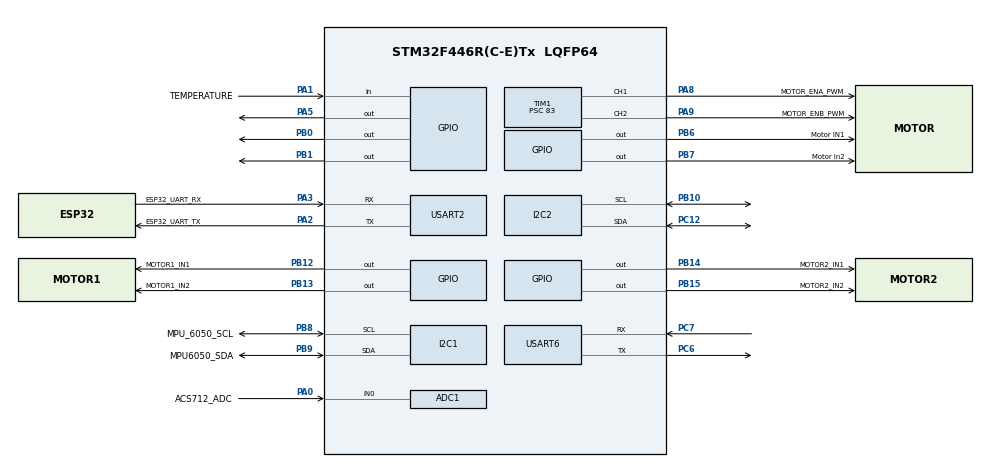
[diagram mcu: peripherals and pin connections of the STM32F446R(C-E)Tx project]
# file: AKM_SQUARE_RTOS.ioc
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ADC1.Channel-0\#ChannelRegularConversion=ADC_CHANNEL_0
ADC1.ContinuousConvMode=ENABLE
ADC1.NbrOfConversionFlag=1
ADC1.Rank-0\#ChannelRegularConversion=1
ADC1.SamplingTime-0\#ChannelRegularConversion=ADC_SAMPLETIME_3CYCLES
ADC1.master=1
FREERTOS.Tasks01=defaultTask,24,128,StartDefaultTask,Default,NULL,Dynamic,NULL,NULL;SensorTask,24,256,SensorTask_Entry,Default,NULL,Dynamic,NULL,NULL;ButtonTask,32,256,ButtonTask_Entry,Default,NULL,Dynamic,NULL,NULL;MotorTask,24,256,MotorTask_Entry,Default,NULL,Dynamic,NULL,NULL;MonitorTask,8,256,MonitorTask_Entry,Default,NULL,Dynamic,NULL,NULL;CommTask,24,256,CommTask_Entry,Default,NULL,Dynamic,NULL,NULL
FREERTOS.configUSE_NEWLIB_REENTRANT=1
Mcu.Family=STM32F4
Mcu.Name=STM32F446R(C-E)Tx
Mcu.Package=LQFP64
NVIC.PriorityGroup=NVIC_PRIORITYGROUP_4
NVIC.TIM6_DAC_IRQn=true\:15\:0\:false\:false\:true\:false\:false\:true\:true
NVIC.TimeBase=TIM6_DAC_IRQn
NVIC.TimeBaseIP=TIM6
PA0-WKUP.GPIO_Label=ACS712_ADC
PA0-WKUP.Signal=ADCx_IN0
PA1.GPIO_Label=TEMPERATURE
PA1.Signal=GPIO_Input
PA2.GPIO_Label=ESP32_UART_TX
PA2.Mode=Asynchronous
PA2.Signal=USART2_TX
PA3.GPIO_Label=ESP32_UART_RX
PA3.Mode=Asynchronous
PA3.Signal=USART2_RX
PA5.Signal=GPIO_Output
PA8.GPIO_Label=MOTOR_ENA_PWM
PA8.Signal=S_TIM1_CH1
PA9.GPIO_Label=MOTOR_ENB_PWM
PA9.Signal=S_TIM1_CH2
PB0.Signal=GPIO_Output
PB1.Signal=GPIO_Output
PB10.Mode=I2C
PB10.Signal=I2C2_SCL
PB12.GPIO_Label=MOTOR1_IN1
PB12.Signal=GPIO_Output
PB13.GPIO_Label=MOTOR1_IN2
PB13.Signal=GPIO_Output
PB14.GPIO_Label=MOTOR2_IN1
PB14.Signal=GPIO_Output
PB15.GPIO_Label=MOTOR2_IN2
PB15.Signal=GPIO_Output
PB6.GPIO_Label=Motor IN1
PB6.Signal=GPIO_Output
PB7.GPIO_Label=Motor In2
PB7.Signal=GPIO_Output
PB8.GPIO_Label=MPU_6050_SCL
PB8.Mode=I2C
PB8.Signal=I2C1_SCL
PB9.GPIO_Label=MPU6050_SDA
PB9.Mode=I2C
PB9.Signal=I2C1_SDA
PC12.Mode=I2C
PC12.Signal=I2C2_SDA
PC6.Mode=Asynchronous
PC6.Signal=USART6_TX
PC7.Mode=Asynchronous
PC7.Signal=USART6_RX
ProjectManager.HeapSize=0x200
ProjectManager.StackSize=0x400
ProjectManager.TargetToolchain=STM32CubeIDE
RCC.CortexFreq_Value=16000000
RCC.USBFreq_Value=96000000
RCC.VCOOutputFreq_Value=192000000
SH.ADCx_IN0.0=ADC1_IN0,IN0
SH.S_TIM1_CH1.0=TIM1_CH1,PWM Generation1 CH1
SH.S_TIM1_CH2.0=TIM1_CH2,PWM Generation2 CH2
TIM1.Channel-PWM\ Generation1\ CH1=TIM_CHANNEL_1
TIM1.Channel-PWM\ Generation2\ CH2=TIM_CHANNEL_2
TIM1.Period=999
TIM1.Prescaler=83
TIM2.Prescaler=15
USART2.VirtualMode=VM_ASYNC
USART6.VirtualMode=VM_ASYNC
VP_FREERTOS_VS_CMSIS_V2.Mode=CMSIS_V2
VP_SYS_VS_tim6.Mode=TIM6
VP_TIM1_VS_ClockSourceINT.Mode=Internal
VP_TIM2_VS_ClockSourceINT.Mode=Internal
board=custom

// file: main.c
/* USER CODE BEGIN Header */
/**
  ******************************************************************************
  * @file           : main.c
  * @brief          : Main program body
  ******************************************************************************
  * @attention
  *
  * Copyright (c) 2026 STMicroelectronics.
  * All rights reserved.
  *
  * This software is licensed under terms that can be found in the LICENSE file
  * in the root directory of this software component.
  * If no LICENSE file comes with this software, it is provided AS-IS.
  *
  ******************************************************************************
  */
/* USER CODE END Header */
#include "main.h"
#include "cmsis_os.h"

/* USER CODE BEGIN Includes */
#include <stdio.h>
#include <string.h>
#include <math.h>
#include <stdint.h>
/* USER CODE END Includes */

/* USER CODE BEGIN PD */

/* ---- ACS712 settings (CHANGE TO MATCH YOUR MODULE) ----
 * 5A  module = 0.185 V/A
 * 20A module = 0.100 V/A
 * 30A module = 0.066 V/A
 *
 * ACS712 output is ~2.5 V at 0 A (powered from 5 V). The STM32 ADC
 * only accepts 0..3.3 V, so use a voltage divider on the output.
 * ACS712_DIVIDER_RATIO = (R1 + R2) / R2
 *   e.g. R1 = 10k (top), R2 = 20k (bottom)  ->  1.5
 *   no divider                              ->  1.0
 */
#define ACS712_SENSITIVITY_V_PER_A   0.185f
#define ACS712_DIVIDER_RATIO         1.0f
#define ADC_VREF                     3.3f
#define ADC_MAX_COUNT                4095.0f

/* Vibration settings */
#define MPU6050_SAMPLES              50U
#define MPU6050_ACCEL_SCALE          16384.0f   /* +/-2 g range: 16384 LSB/g */
#define VIBRATION_HIGH_THRESHOLD_G   0.50f

/* Status thresholds (adjust to your motor / load) */
#define TEMP_HIGH_THRESHOLD_C        40.0f   /* temperature >= this -> HIGH */
#define CURRENT_HIGH_THRESHOLD_A     1.00f   /* current >= this     -> HIGH (also Speed HIGH) */
#define MOTOR_RUN_CURRENT_A          0.15f   /* current >= this     -> motor RUNNING */

/* Speed controller (potentiometer) read by the STM32
 * Pot middle pin -> PA4 (ADC1_IN4), other pins -> 3.3V and GND.
 * Change these 3 lines if your pot is on another ADC pin.
 */
#define POT_ADC_CHANNEL              ADC_CHANNEL_4
#define POT_GPIO_PORT                GPIOA
#define POT_GPIO_PIN                 GPIO_PIN_4
#define POT_DEADBAND                 100U    /* ADC counts below this -> motors stop */
#define MOTOR_MIN_DUTY               450U    /* starting (normal) speed, 0..999 = 0..100% */
#define MOTOR_PWM_PRESCALER          7U      /* 16 MHz / 8 / 1000 = 2 kHz PWM */

/* USER CODE END PD */

ADC_HandleTypeDef hadc1;

I2C_HandleTypeDef hi2c1;
I2C_HandleTypeDef hi2c2;

TIM_HandleTypeDef htim1;
TIM_HandleTypeDef htim2;

UART_HandleTypeDef huart2;
UART_HandleTypeDef huart6;

/* Definitions for defaultTask */
osThreadId_t defaultTaskHandle;
const osThreadAttr_t defaultTask_attributes = {
  .name = "defaultTask",
  .stack_size = 128 * 4,
  .priority = (osPriority_t) osPriorityNormal,
};
/* Definitions for SensorTask */
osThreadId_t SensorTaskHandle;
const osThreadAttr_t SensorTask_attributes = {
  .name = "SensorTask",
  .stack_size = 512 * 4,
  .priority = (osPriority_t) osPriorityNormal,
};
/* Definitions for ButtonTask */
osThreadId_t ButtonTaskHandle;
const osThreadAttr_t ButtonTask_attributes = {
  .name = "ButtonTask",
  .stack_size = 256 * 4,
  .priority = (osPriority_t) osPriorityAboveNormal,
};
/* Definitions for MotorTask */
osThreadId_t MotorTaskHandle;
const osThreadAttr_t MotorTask_attributes = {
  .name = "MotorTask",
  .stack_size = 256 * 4,
  .priority = (osPriority_t) osPriorityNormal,
};
/* Definitions for MonitorTask */
osThreadId_t MonitorTaskHandle;
const osThreadAttr_t MonitorTask_attributes = {
  .name = "MonitorTask",
  .stack_size = 256 * 4,
  .priority = (osPriority_t) osPriorityLow,
};
/* Definitions for CommTask */
osThreadId_t CommTaskHandle;
const osThreadAttr_t CommTask_attributes = {
  .name = "CommTask",
  .stack_size = 256 * 4,
  .priority = (osPriority_t) osPriorityNormal,
};
/* USER CODE BEGIN PV */

/* LM35 temperature sensor: PA1 / ADC1_IN1 */
float temperature_celsius = 0.0f;
uint8_t temperature_sensor_ok = 0;

/* ACS712 current sensor: PA0 / ADC1_IN0 */
uint32_t adc_value = 0;
float sensor_voltage = 0.0f;
uint32_t acs_zero_adc = 0;
float acs_current_A = 0.0f;
uint8_t acs_sensor_ok = 0;

/* MPU6050: I2C1
 * PB8 = SCL
 * PB9 = SDA
 */
#define MPU6050_ADDR          (0x68U << 1)
#define MPU6050_PWR_MGMT_1    0x6B
#define MPU6050_ACCEL_CONFIG  0x1C
#define MPU6050_ACCEL_XOUT_H  0x3B

uint16_t mpu6050_addr = MPU6050_ADDR;   /* updated at startup (0x68 or 0x69) */
uint8_t mpu6050_ok = 0;

/* Mutex so only one task uses ADC1 at a time */
osMutexId_t adcMutexHandle = NULL;
const osMutexAttr_t adcMutex_attributes = { .name = "adcMutex" };

uint8_t mpu6050_data[6];

int16_t mpu6050_raw_x = 0;
int16_t mpu6050_raw_y = 0;
int16_t mpu6050_raw_z = 0;

float vibration_x_g = 0.0f;
float vibration_y_g = 0.0f;
float vibration_z_g = 0.0f;
float vibration_magnitude_g = 0.0f;

/* Vibration monitoring */
float vibration_rms_g = 0.0f;

/* Motor-specific indicators:
 * Valid independent measurements require a sensor
 * mounted near each motor.
 */
float motor1_vibration_g = 0.0f;
float motor2_vibration_g = 0.0f;

uint8_t motor1_high_vibration = 0;
uint8_t motor2_high_vibration = 0;

/* USER CODE END PV */

void SystemClock_Config(void);
static void MX_GPIO_Init(void);
static void MX_TIM2_Init(void);
static void MX_ADC1_Init(void);
static void MX_USART2_UART_Init(void);
static void MX_USART6_UART_Init(void);
static void MX_TIM1_Init(void);
static void MX_I2C1_Init(void);
static void MX_I2C2_Init(void);
void StartDefaultTask(void *argument);
void SensorTask_Entry(void *argument);
void ButtonTask_Entry(void *argument);
void MotorTask_Entry(void *argument);
void MonitorTask_Entry(void *argument);
void CommTask_Entry(void *argument);

/* USER CODE BEGIN PFP */

/* Motor control functions — preserve existing behavior */
void Motor1_SetSpeed(uint16_t speed);
void Motor2_SetSpeed(uint16_t speed);
void Motor_Stop(void);
void Motor_Forward(void);
void Motor_Reverse(void);

/* LM35 temperature sensor */
float LM35_ReadTemperature(void);

/* ACS712 current sensor */
void  ACS712_Calibrate(void);
float ACS712_ReadCurrent(void);

/* MPU6050 sensor functions */
HAL_StatusTypeDef MPU6050_Init(void);
HAL_StatusTypeDef MPU6050_ReadVibration(void);

/* UART output */
void SendSensorDataToESP32(float temperature,
                           float current,
                           float vibration);
void I2C_ScanBus(I2C_HandleTypeDef *hi2c, const char *name);

/* USER CODE END PFP */

int main(void)
{

  /* MCU Configuration--------------------------------------------------------*/

  /* Reset of all peripherals, Initializes the Flash interface and the Systick. */
  HAL_Init();

  /* Configure the system clock */
  SystemClock_Config();

  /* Initialize all configured peripherals */
  MX_GPIO_Init();
  MX_TIM2_Init();
  MX_ADC1_Init();
  MX_USART2_UART_Init();   /* PuTTY / ST-Link virtual COM port */
  MX_USART6_UART_Init();   /* ESP32 */
  MX_TIM1_Init();
  MX_I2C1_Init();
  MX_I2C2_Init();

   /* USER CODE BEGIN 2 */

  /* 0. Speed-controller pot pin as analog input */
  {
      GPIO_InitTypeDef pot_gpio = {0};
      pot_gpio.Pin  = POT_GPIO_PIN;
      pot_gpio.Mode = GPIO_MODE_ANALOG;
      pot_gpio.Pull = GPIO_NOPULL;
      HAL_GPIO_Init(POT_GPIO_PORT, &pot_gpio);
  }

  /* 1. Start TIM2 base timer */
  if (HAL_TIM_Base_Start(&htim2) != HAL_OK)
  {
      Error_Handler();
  }

  __HAL_TIM_SET_COUNTER(&htim2, 0U);

  /* 1b. Raise motor PWM frequency from ~190 Hz to 2 kHz (HSI = 16 MHz) */
  __HAL_TIM_SET_PRESCALER(&htim1, MOTOR_PWM_PRESCALER);
  htim1.Instance->EGR = TIM_EGR_UG;

  /* 2. Start motor PWM outputs */
  if (HAL_TIM_PWM_Start(&htim1, TIM_CHANNEL_1) != HAL_OK)
  {
      Error_Handler();
  }

  if (HAL_TIM_PWM_Start(&htim1, TIM_CHANNEL_2) != HAL_OK)
  {
      Error_Handler();
  }

  /* 3. Keep both motors stopped at startup */
  Motor_Stop();

  /* 4. Test USART2 -> PuTTY */
  const char uart_test[] =
      "\r\n================================\r\n"
      "AKM SQUARE - STM32 STARTED\r\n"
      "USART2 PUTTY TEST OK\r\n"
      "================================\r\n";

  if (HAL_UART_Transmit(
          &huart2,
          (uint8_t *)uart_test,
          (uint16_t)(sizeof(uart_test) - 1U),
          1000U) != HAL_OK)
  {
      Error_Handler();
  }

  /* 5. Check MPU6050 on I2C1 and initialise it */
  const char *mpu_message;

  if (HAL_I2C_IsDeviceReady(
          &hi2c1, (uint16_t)(0x68U << 1), 3U, 100U) == HAL_OK)
  {
      mpu6050_addr = (uint16_t)(0x68U << 1);
      mpu_message = "MPU6050 DETECTED AT 0x68\r\n";
  }
  else if (HAL_I2C_IsDeviceReady(
               &hi2c1, (uint16_t)(0x69U << 1), 3U, 100U) == HAL_OK)
  {
      mpu6050_addr = (uint16_t)(0x69U << 1);
      mpu_message = "MPU6050 DETECTED AT 0x69\r\n";
  }
  else
  {
      mpu_message = "ERROR: MPU6050 NOT DETECTED\r\n";
  }

  if (HAL_UART_Transmit(
          &huart2,
          (uint8_t *)mpu_message,
          (uint16_t)strlen(mpu_message),
          1000U) != HAL_OK)
  {
      Error_Handler();
  }

  if (MPU6050_Init() == HAL_OK)
  {
      mpu6050_ok = 1;
  }

  /* 5b. Diagnostic: list every device found on both I2C buses */
  I2C_ScanBus(&hi2c1, "I2C1");
  I2C_ScanBus(&hi2c2, "I2C2");

  /* 6. Calibrate ACS712 zero-current point (motors are stopped now) */
  ACS712_Calibrate();

  {
      char cal_msg[64];
      int n = snprintf(cal_msg, sizeof(cal_msg),
                       "ACS712 ZERO ADC = %lu\r\n", (unsigned long)acs_zero_adc);
      if (n > 0 && n < (int)sizeof(cal_msg))
      {
          HAL_UART_Transmit(&huart2, (uint8_t *)cal_msg, (uint16_t)n, 1000U);
      }
  }

  /* USER CODE END 2 */

  /* Init scheduler */
  osKernelInitialize();

  /* USER CODE BEGIN RTOS_MUTEX */
  adcMutexHandle = osMutexNew(&adcMutex_attributes);
  /* USER CODE END RTOS_MUTEX */

  /* Create the thread(s) */
  /* creation of defaultTask */
  defaultTaskHandle = osThreadNew(StartDefaultTask, NULL, &defaultTask_attributes);

  /* creation of SensorTask */
  SensorTaskHandle = osThreadNew(SensorTask_Entry, NULL, &SensorTask_attributes);

  /* creation of ButtonTask */
  ButtonTaskHandle = osThreadNew(ButtonTask_Entry, NULL, &ButtonTask_attributes);

  /* creation of MotorTask */
  MotorTaskHandle = osThreadNew(MotorTask_Entry, NULL, &MotorTask_attributes);

  /* creation of MonitorTask */
  MonitorTaskHandle = osThreadNew(MonitorTask_Entry, NULL, &MonitorTask_attributes);

  /* creation of CommTask */
  CommTaskHandle = osThreadNew(CommTask_Entry, NULL, &CommTask_attributes);

  /* Start scheduler */
  osKernelStart();

  /* We should never get here as control is now taken by the scheduler */

  /* Infinite loop */
  while (1)
  {

  }
}

void SystemClock_Config(void)
{
  RCC_OscInitTypeDef RCC_OscInitStruct = {0};
  RCC_ClkInitTypeDef RCC_ClkInitStruct = {0};

  /** Configure the main internal regulator output voltage
  */
  __HAL_RCC_PWR_CLK_ENABLE();
  __HAL_PWR_VOLTAGESCALING_CONFIG(PWR_REGULATOR_VOLTAGE_SCALE3);

  /** Initializes the RCC Oscillators according to the specified parameters
  * in the RCC_OscInitTypeDef structure.
  */
  RCC_OscInitStruct.OscillatorType = RCC_OSCILLATORTYPE_HSI;
  RCC_OscInitStruct.HSIState = RCC_HSI_ON;
  RCC_OscInitStruct.HSICalibrationValue = RCC_HSICALIBRATION_DEFAULT;
  RCC_OscInitStruct.PLL.PLLState = RCC_PLL_NONE;
  if (HAL_RCC_OscConfig(&RCC_OscInitStruct) != HAL_OK)
  {
    Error_Handler();
  }

  /** Initializes the CPU, AHB and APB buses clocks
  */
  RCC_ClkInitStruct.ClockType = RCC_CLOCKTYPE_HCLK|RCC_CLOCKTYPE_SYSCLK
                              |RCC_CLOCKTYPE_PCLK1|RCC_CLOCKTYPE_PCLK2;
  RCC_ClkInitStruct.SYSCLKSource = RCC_SYSCLKSOURCE_HSI;
  RCC_ClkInitStruct.AHBCLKDivider = RCC_SYSCLK_DIV1;
  RCC_ClkInitStruct.APB1CLKDivider = RCC_HCLK_DIV1;
  RCC_ClkInitStruct.APB2CLKDivider = RCC_HCLK_DIV1;

  if (HAL_RCC_ClockConfig(&RCC_ClkInitStruct, FLASH_LATENCY_0) != HAL_OK)
  {
    Error_Handler();
  }
}

static void MX_ADC1_Init(void)
{

  ADC_ChannelConfTypeDef sConfig = {0};

  /** Configure the global features of the ADC (Clock, Resolution, Data Alignment and number of conversion)
  */
  hadc1.Instance = ADC1;
  hadc1.Init.ClockPrescaler = ADC_CLOCK_SYNC_PCLK_DIV2;
  hadc1.Init.Resolution = ADC_RESOLUTION_12B;
  hadc1.Init.ScanConvMode = DISABLE;
  hadc1.Init.ContinuousConvMode = DISABLE;   /* single conversions (software started) */
  hadc1.Init.DiscontinuousConvMode = DISABLE;
  hadc1.Init.ExternalTrigConvEdge = ADC_EXTERNALTRIGCONVEDGE_NONE;
  hadc1.Init.ExternalTrigConv = ADC_SOFTWARE_START;
  hadc1.Init.DataAlign = ADC_DATAALIGN_RIGHT;
  hadc1.Init.NbrOfConversion = 1;
  hadc1.Init.DMAContinuousRequests = DISABLE;
  hadc1.Init.EOCSelection = ADC_EOC_SINGLE_CONV;
  if (HAL_ADC_Init(&hadc1) != HAL_OK)
  {
    Error_Handler();
  }

  /** Configure for the selected ADC regular channel its corresponding rank in the sequencer and its sample time.
  */
  sConfig.Channel = ADC_CHANNEL_0;
  sConfig.Rank = 1;
  sConfig.SamplingTime = ADC_SAMPLETIME_3CYCLES;
  if (HAL_ADC_ConfigChannel(&hadc1, &sConfig) != HAL_OK)
  {
    Error_Handler();
  }
  /* USER CODE BEGIN ADC1_Init 2 */

    /* Additional ADC configuration can go here. */

  /* USER CODE END ADC1_Init 2 */

}

static void MX_I2C1_Init(void)
{

  hi2c1.Instance = I2C1;
  hi2c1.Init.ClockSpeed = 100000;
  hi2c1.Init.DutyCycle = I2C_DUTYCYCLE_2;
  hi2c1.Init.OwnAddress1 = 0;
  hi2c1.Init.AddressingMode = I2C_ADDRESSINGMODE_7BIT;
  hi2c1.Init.DualAddressMode = I2C_DUALADDRESS_DISABLE;
  hi2c1.Init.OwnAddress2 = 0;
  hi2c1.Init.GeneralCallMode = I2C_GENERALCALL_DISABLE;
  hi2c1.Init.NoStretchMode = I2C_NOSTRETCH_DISABLE;
  if (HAL_I2C_Init(&hi2c1) != HAL_OK)
  {
    Error_Handler();
  }

}

static void MX_I2C2_Init(void)
{

  hi2c2.Instance = I2C2;
  hi2c2.Init.ClockSpeed = 100000;
  hi2c2.Init.DutyCycle = I2C_DUTYCYCLE_2;
  hi2c2.Init.OwnAddress1 = 0;
  hi2c2.Init.AddressingMode = I2C_ADDRESSINGMODE_7BIT;
  hi2c2.Init.DualAddressMode = I2C_DUALADDRESS_DISABLE;
  hi2c2.Init.OwnAddress2 = 0;
  hi2c2.Init.GeneralCallMode = I2C_GENERALCALL_DISABLE;
  hi2c2.Init.NoStretchMode = I2C_NOSTRETCH_DISABLE;
  if (HAL_I2C_Init(&hi2c2) != HAL_OK)
  {
    Error_Handler();
  }

}

static void MX_TIM1_Init(void)
{

  TIM_ClockConfigTypeDef sClockSourceConfig = {0};
  TIM_MasterConfigTypeDef sMasterConfig = {0};
  TIM_OC_InitTypeDef sConfigOC = {0};
  TIM_BreakDeadTimeConfigTypeDef sBreakDeadTimeConfig = {0};

  htim1.Instance = TIM1;
  htim1.Init.Prescaler = 83;
  htim1.Init.CounterMode = TIM_COUNTERMODE_UP;
  htim1.Init.Period = 999;
  htim1.Init.ClockDivision = TIM_CLOCKDIVISION_DIV1;
  htim1.Init.RepetitionCounter = 0;
  htim1.Init.AutoReloadPreload = TIM_AUTORELOAD_PRELOAD_DISABLE;
  if (HAL_TIM_Base_Init(&htim1) != HAL_OK)
  {
    Error_Handler();
  }
  sClockSourceConfig.ClockSource = TIM_CLOCKSOURCE_INTERNAL;
  if (HAL_TIM_ConfigClockSource(&htim1, &sClockSourceConfig) != HAL_OK)
  {
    Error_Handler();
  }
  if (HAL_TIM_PWM_Init(&htim1) != HAL_OK)
  {
    Error_Handler();
  }
  sMasterConfig.MasterOutputTrigger = TIM_TRGO_RESET;
  sMasterConfig.MasterSlaveMode = TIM_MASTERSLAVEMODE_DISABLE;
  if (HAL_TIMEx_MasterConfigSynchronization(&htim1, &sMasterConfig) != HAL_OK)
  {
    Error_Handler();
  }
  sConfigOC.OCMode = TIM_OCMODE_PWM1;
  sConfigOC.Pulse = 0;
  sConfigOC.OCPolarity = TIM_OCPOLARITY_HIGH;
  sConfigOC.OCNPolarity = TIM_OCNPOLARITY_HIGH;
  sConfigOC.OCFastMode = TIM_OCFAST_DISABLE;
  sConfigOC.OCIdleState = TIM_OCIDLESTATE_RESET;
  sConfigOC.OCNIdleState = TIM_OCNIDLESTATE_RESET;
  if (HAL_TIM_PWM_ConfigChannel(&htim1, &sConfigOC, TIM_CHANNEL_1) != HAL_OK)
  {
    Error_Handler();
  }
  if (HAL_TIM_PWM_ConfigChannel(&htim1, &sConfigOC, TIM_CHANNEL_2) != HAL_OK)
  {
    Error_Handler();
  }
  sBreakDeadTimeConfig.OffStateRunMode = TIM_OSSR_DISABLE;
  sBreakDeadTimeConfig.OffStateIDLEMode = TIM_OSSI_DISABLE;
  sBreakDeadTimeConfig.LockLevel = TIM_LOCKLEVEL_OFF;
  sBreakDeadTimeConfig.DeadTime = 0;
  sBreakDeadTimeConfig.BreakState = TIM_BREAK_DISABLE;
  sBreakDeadTimeConfig.BreakPolarity = TIM_BREAKPOLARITY_HIGH;
  sBreakDeadTimeConfig.AutomaticOutput = TIM_AUTOMATICOUTPUT_DISABLE;
  if (HAL_TIMEx_ConfigBreakDeadTime(&htim1, &sBreakDeadTimeConfig) != HAL_OK)
  {
    Error_Handler();
  }
  HAL_TIM_MspPostInit(&htim1);

}

static void MX_TIM2_Init(void)
{

  TIM_ClockConfigTypeDef sClockSourceConfig = {0};
  TIM_MasterConfigTypeDef sMasterConfig = {0};

  htim2.Instance = TIM2;
  htim2.Init.Prescaler = 15;
  htim2.Init.CounterMode = TIM_COUNTERMODE_UP;
  htim2.Init.Period = 4294967295;
  htim2.Init.ClockDivision = TIM_CLOCKDIVISION_DIV1;
  htim2.Init.AutoReloadPreload = TIM_AUTORELOAD_PRELOAD_DISABLE;
  if (HAL_TIM_Base_Init(&htim2) != HAL_OK)
  {
    Error_Handler();
  }
  sClockSourceConfig.ClockSource = TIM_CLOCKSOURCE_INTERNAL;
  if (HAL_TIM_ConfigClockSource(&htim2, &sClockSourceConfig) != HAL_OK)
  {
    Error_Handler();
  }
  sMasterConfig.MasterOutputTrigger = TIM_TRGO_RESET;
  sMasterConfig.MasterSlaveMode = TIM_MASTERSLAVEMODE_DISABLE;
  if (HAL_TIMEx_MasterConfigSynchronization(&htim2, &sMasterConfig) != HAL_OK)
  {
    Error_Handler();
  }

}

static void MX_USART2_UART_Init(void)
{
  huart2.Instance = USART2;
  huart2.Init.BaudRate = 115200;
  huart2.Init.WordLength = UART_WORDLENGTH_8B;
  huart2.Init.StopBits = UART_STOPBITS_1;
  huart2.Init.Parity = UART_PARITY_NONE;
  huart2.Init.Mode = UART_MODE_TX_RX;
  huart2.Init.HwFlowCtl = UART_HWCONTROL_NONE;
  huart2.Init.OverSampling = UART_OVERSAMPLING_16;
  if (HAL_UART_Init(&huart2) != HAL_OK)
  {
    Error_Handler();
  }
}

static void MX_USART6_UART_Init(void)
{
    huart6.Instance = USART6;
    huart6.Init.BaudRate = 115200;
    huart6.Init.WordLength = UART_WORDLENGTH_8B;
    huart6.Init.StopBits = UART_STOPBITS_1;
    huart6.Init.Parity = UART_PARITY_NONE;
    huart6.Init.Mode = UART_MODE_TX_RX;
    huart6.Init.HwFlowCtl = UART_HWCONTROL_NONE;
    huart6.Init.OverSampling = UART_OVERSAMPLING_16;

    if (HAL_UART_Init(&huart6) != HAL_OK)
    {
        Error_Handler();
    }
}

static void MX_GPIO_Init(void)
{
  GPIO_InitTypeDef GPIO_InitStruct = {0};

  /* GPIO Ports Clock Enable */
  __HAL_RCC_GPIOA_CLK_ENABLE();
  __HAL_RCC_GPIOB_CLK_ENABLE();
  __HAL_RCC_GPIOC_CLK_ENABLE();

  /*Configure GPIO pin Output Level */
  HAL_GPIO_WritePin(GPIOA, GPIO_PIN_5, GPIO_PIN_RESET);

  /*Configure GPIO pin Output Level */
  HAL_GPIO_WritePin(GPIOB, GPIO_PIN_0|GPIO_PIN_1|MOTOR1_IN1_Pin|MOTOR1_IN2_Pin
                          |MOTOR2_IN1_Pin|MOTOR2_IN2_Pin|Motor_IN1_Pin|Motor_In2_Pin, GPIO_PIN_RESET);

  /*Configure GPIO pin : TEMPERATURE_Pin */
  GPIO_InitStruct.Pin = TEMPERATURE_Pin;
  GPIO_InitStruct.Mode = GPIO_MODE_INPUT;
  GPIO_InitStruct.Pull = GPIO_NOPULL;
  HAL_GPIO_Init(TEMPERATURE_GPIO_Port, &GPIO_InitStruct);

  /*Configure GPIO pin : PA5 */
  GPIO_InitStruct.Pin = GPIO_PIN_5;
  GPIO_InitStruct.Mode = GPIO_MODE_OUTPUT_PP;
  GPIO_InitStruct.Pull = GPIO_NOPULL;
  GPIO_InitStruct.Speed = GPIO_SPEED_FREQ_LOW;
  HAL_GPIO_Init(GPIOA, &GPIO_InitStruct);

  /*Configure GPIO pins : PB0 PB1 MOTOR1_IN1_Pin MOTOR1_IN2_Pin
                           MOTOR2_IN1_Pin MOTOR2_IN2_Pin Motor_IN1_Pin Motor_In2_Pin */
  GPIO_InitStruct.Pin = GPIO_PIN_0|GPIO_PIN_1|MOTOR1_IN1_Pin|MOTOR1_IN2_Pin
                          |MOTOR2_IN1_Pin|MOTOR2_IN2_Pin|Motor_IN1_Pin|Motor_In2_Pin;
  GPIO_InitStruct.Mode = GPIO_MODE_OUTPUT_PP;
  GPIO_InitStruct.Pull = GPIO_NOPULL;
  GPIO_InitStruct.Speed = GPIO_SPEED_FREQ_LOW;
  HAL_GPIO_Init(GPIOB, &GPIO_InitStruct);

}

/* USER CODE BEGIN 4 */

/* =========================================================
   ADC HELPER
   Reads one ADC1 channel several times and returns the
   average raw (12-bit) value. *ok = 1 on success.
   ========================================================= */
static uint32_t ADC_ReadAveraged_Raw(uint32_t channel, uint32_t samples, uint8_t *ok)
{
    ADC_ChannelConfTypeDef sConfig = {0};
    uint32_t sum = 0U;
    uint32_t i;

    *ok = 0U;

    sConfig.Channel = channel;
    sConfig.Rank = 1;
    sConfig.SamplingTime = ADC_SAMPLETIME_84CYCLES;

    if (HAL_ADC_ConfigChannel(&hadc1, &sConfig) != HAL_OK)
    {
        return 0U;
    }

    for (i = 0U; i < samples; i++)
    {
        if (HAL_ADC_Start(&hadc1) != HAL_OK)
        {
            return 0U;
        }

        if (HAL_ADC_PollForConversion(&hadc1, 10U) != HAL_OK)
        {
            HAL_ADC_Stop(&hadc1);
            return 0U;
        }

        sum += HAL_ADC_GetValue(&hadc1);
        HAL_ADC_Stop(&hadc1);
    }

    *ok = 1U;
    return (sum / samples);
}

static uint32_t ADC_ReadAveraged(uint32_t channel, uint32_t samples, uint8_t *ok)
{
    uint8_t locked = 0U;
    uint32_t result;

    if (adcMutexHandle != NULL && osKernelGetState() == osKernelRunning)
    {
        osMutexAcquire(adcMutexHandle, osWaitForever);
        locked = 1U;
    }

    result = ADC_ReadAveraged_Raw(channel, samples, ok);

    if (locked)
    {
        osMutexRelease(adcMutexHandle);
    }

    return result;
}

/* =========================================================
   LM35 TEMPERATURE SENSOR
   LM35 OUT -> PA1 (ADC1_IN1)
   ACS712   -> PA0 (ADC1_IN0)
   ========================================================= */
float LM35_ReadTemperature(void)
{
    uint8_t ok;
    uint32_t raw = ADC_ReadAveraged(ADC_CHANNEL_1, 16U, &ok);

    if (!ok)
    {
        temperature_sensor_ok = 0U;
        return -1000.0f;
    }

    temperature_sensor_ok = 1U;

    /* Convert ADC result into voltage */
    float voltage = ((float)raw * ADC_VREF) / ADC_MAX_COUNT;

    /* LM35 output: typically 10 mV per degree Celsius */
    return voltage * 100.0f;
}

/* =========================================================
   ACS712 CURRENT SENSOR (PA0 / ADC1_IN0)
   Zero-current point is measured at startup with motors off.
   ========================================================= */
void ACS712_Calibrate(void)
{
    uint8_t ok;
    uint32_t raw = ADC_ReadAveraged(ADC_CHANNEL_0, 200U, &ok);

    if (ok)
    {
        acs_zero_adc = raw;
        acs_sensor_ok = 1U;
    }
    else
    {
        acs_sensor_ok = 0U;
    }
}

float ACS712_ReadCurrent(void)
{
    uint8_t ok;
    uint32_t raw = ADC_ReadAveraged(ADC_CHANNEL_0, 32U, &ok);

    if (!ok)
    {
        acs_sensor_ok = 0U;
        return 0.0f;
    }

    acs_sensor_ok = 1U;
    adc_value = raw;

    /* Voltage at the ADC pin */
    sensor_voltage = ((float)raw * ADC_VREF) / ADC_MAX_COUNT;

    /* Voltage change at the ACS712 output (undo the divider) */
    float delta_v = (((float)raw - (float)acs_zero_adc) * ADC_VREF / ADC_MAX_COUNT)
                    * ACS712_DIVIDER_RATIO;

    float current = delta_v / ACS712_SENSITIVITY_V_PER_A;

    /* Ignore tiny noise around zero */
    if (fabsf(current) < 0.05f)
    {
        current = 0.0f;
    }

    return current;
}

/* =========================================================
   MOTOR 1 PWM SPEED CONTROL
   TIM1 CHANNEL 1
   ========================================================= */

void Motor1_SetSpeed(uint16_t speed)
{
    if (speed > 999)
        speed = 999;

    __HAL_TIM_SET_COMPARE(&htim1, TIM_CHANNEL_1, speed);
}

/* =========================================================
   MOTOR 2 PWM SPEED CONTROL
   TIM1 CHANNEL 2
   ========================================================= */

void Motor2_SetSpeed(uint16_t speed)
{
    if (speed > 999)
        speed = 999;

    __HAL_TIM_SET_COMPARE(&htim1, TIM_CHANNEL_2, speed);
}

/* =========================================================
   STOP BOTH MOTORS
   ========================================================= */

void Motor_Stop(void)
{
    Motor1_SetSpeed(0);
    Motor2_SetSpeed(0);
}

/* =========================================================
   BOTH MOTORS FORWARD
   Motor 1: PB12 / PB13
   Motor 2: PB14 / PB15
   ========================================================= */

void Motor_Forward(void)
{
    HAL_GPIO_WritePin(GPIOB, GPIO_PIN_12, GPIO_PIN_SET);
    HAL_GPIO_WritePin(GPIOB, GPIO_PIN_13, GPIO_PIN_RESET);

    HAL_GPIO_WritePin(GPIOB, GPIO_PIN_14, GPIO_PIN_SET);
    HAL_GPIO_WritePin(GPIOB, GPIO_PIN_15, GPIO_PIN_RESET);
}

/* =========================================================
   BOTH MOTORS REVERSE
   ========================================================= */

void Motor_Reverse(void)
{
    HAL_GPIO_WritePin(GPIOB, GPIO_PIN_12, GPIO_PIN_RESET);
    HAL_GPIO_WritePin(GPIOB, GPIO_PIN_13, GPIO_PIN_SET);

    HAL_GPIO_WritePin(GPIOB, GPIO_PIN_14, GPIO_PIN_RESET);
    HAL_GPIO_WritePin(GPIOB, GPIO_PIN_15, GPIO_PIN_SET);
}

/* =========================================================
   MPU6050 INITIALIZATION
   I2C1: PB8 SCL, PB9 SDA
   Wakes the sensor and selects the +/-2 g range.
   ========================================================= */
HAL_StatusTypeDef MPU6050_Init(void)
{
    uint8_t wake = 0x00;       /* clear sleep bit */
    uint8_t range = 0x00;      /* +/-2 g */
    HAL_StatusTypeDef st;

    st = HAL_I2C_Mem_Write(&hi2c1, mpu6050_addr, MPU6050_PWR_MGMT_1,
                           I2C_MEMADD_SIZE_8BIT, &wake, 1U, 100U);
    if (st != HAL_OK)
    {
        return st;
    }

    st = HAL_I2C_Mem_Write(&hi2c1, mpu6050_addr, MPU6050_ACCEL_CONFIG,
                           I2C_MEMADD_SIZE_8BIT, &range, 1U, 100U);
    return st;
}

/* =========================================================
   MPU6050 VIBRATION READING
   Takes MPU6050_SAMPLES accelerometer samples and computes the
   RMS of the acceleration magnitude around its mean. Because
   the mean is removed, gravity (1 g) does not affect the result.
   Result -> vibration_rms_g
   Must be called from a task (uses osDelay).
   ========================================================= */
HAL_StatusTypeDef MPU6050_ReadVibration(void)
{
    float sum = 0.0f;
    float sum_sq = 0.0f;
    uint32_t i;

    for (i = 0U; i < MPU6050_SAMPLES; i++)
    {
        HAL_StatusTypeDef st = HAL_I2C_Mem_Read(&hi2c1, mpu6050_addr,
                                                MPU6050_ACCEL_XOUT_H,
                                                I2C_MEMADD_SIZE_8BIT,
                                                mpu6050_data, 6U, 100U);
        if (st != HAL_OK)
        {
            return st;
        }

        mpu6050_raw_x = (int16_t)((mpu6050_data[0] << 8) | mpu6050_data[1]);
        mpu6050_raw_y = (int16_t)((mpu6050_data[2] << 8) | mpu6050_data[3]);
        mpu6050_raw_z = (int16_t)((mpu6050_data[4] << 8) | mpu6050_data[5]);

        vibration_x_g = (float)mpu6050_raw_x / MPU6050_ACCEL_SCALE;
        vibration_y_g = (float)mpu6050_raw_y / MPU6050_ACCEL_SCALE;
        vibration_z_g = (float)mpu6050_raw_z / MPU6050_ACCEL_SCALE;

        vibration_magnitude_g = sqrtf(vibration_x_g * vibration_x_g +
                                      vibration_y_g * vibration_y_g +
                                      vibration_z_g * vibration_z_g);

        sum    += vibration_magnitude_g;
        sum_sq += vibration_magnitude_g * vibration_magnitude_g;

        osDelay(2);
    }

    float mean = sum / (float)MPU6050_SAMPLES;
    float var  = (sum_sq / (float)MPU6050_SAMPLES) - (mean * mean);

    if (var < 0.0f)
    {
        var = 0.0f;
    }

    vibration_rms_g = sqrtf(var);

    return HAL_OK;
}

/* =========================================================
   I2C BUS SCAN (diagnostic) - prints every device found
   ========================================================= */
void I2C_ScanBus(I2C_HandleTypeDef *hi2c, const char *name)
{
    char line[96];
    int n = snprintf(line, sizeof(line), "%s devices:", name);
    uint8_t found = 0U;
    uint16_t addr;

    for (addr = 1U; addr < 127U; addr++)
    {
        if (HAL_I2C_IsDeviceReady(hi2c, (uint16_t)(addr << 1), 1U, 5U) == HAL_OK)
        {
            if (n > 0 && n < (int)sizeof(line) - 8)
            {
                n += snprintf(line + n, sizeof(line) - (size_t)n, " 0x%02X", (unsigned)addr);
            }
            found = 1U;
        }
    }

    if (!found && n > 0 && n < (int)sizeof(line) - 8)
    {
        n += snprintf(line + n, sizeof(line) - (size_t)n, " NONE");
    }

    if (n > 0 && n < (int)sizeof(line) - 3)
    {
        line[n++] = '\r';
        line[n++] = '\n';
        HAL_UART_Transmit(&huart2, (uint8_t *)line, (uint16_t)n, 1000U);
    }
}

/* =========================================================
   FLOAT -> TEXT without needing printf float support
   e.g. FormatFixed(buf, size, 29.4f, 2) -> "29.40"
   ========================================================= */
static void FormatFixed(char *buf, size_t size, float value, uint8_t decimals)
{
    uint32_t scale = 1U;
    uint8_t i;
    uint8_t neg = (value < 0.0f) ? 1U : 0U;

    for (i = 0U; i < decimals; i++)
    {
        scale *= 10U;
    }

    if (neg)
    {
        value = -value;
    }

    uint32_t scaled = (uint32_t)(value * (float)scale + 0.5f);

    if (scaled == 0U)
    {
        neg = 0U;
    }

    snprintf(buf, size, "%s%lu.%0*lu",
             neg ? "-" : "",
             (unsigned long)(scaled / scale),
             (int)decimals,
             (unsigned long)(scaled % scale));
}

/* =========================================================
   SEND SENSOR REPORT
   -> PuTTY (USART2) and ESP32 (USART6)
   ========================================================= */
void SendSensorDataToESP32(float temperature,
                           float current,
                           float vibration)
{
    static char tx_buffer[384];
    char num[20];
    char temp_line[40];
    char cur_line[40];
    char vib_line[48];

    /* Temperature */
    if (temperature_sensor_ok)
    {
        FormatFixed(num, sizeof(num), temperature, 2);
        snprintf(temp_line, sizeof(temp_line), "%s C (%s)", num,
                 (temperature >= TEMP_HIGH_THRESHOLD_C) ? "HIGH" : "LOW");
    }
    else
    {
        snprintf(temp_line, sizeof(temp_line), "SENSOR ERROR");
    }

    /* Current */
    if (acs_sensor_ok)
    {
        FormatFixed(num, sizeof(num), current, 3);
        snprintf(cur_line, sizeof(cur_line), "%s A (%s)", num,
                 (current >= CURRENT_HIGH_THRESHOLD_A) ? "HIGH" : "LOW");
    }
    else
    {
        snprintf(cur_line, sizeof(cur_line), "SENSOR ERROR");
    }

    /* Vibration */
    if (mpu6050_ok)
    {
        FormatFixed(num, sizeof(num), vibration, 3);
        snprintf(vib_line, sizeof(vib_line), "%s g (%s)", num,
                 (vibration >= VIBRATION_HIGH_THRESHOLD_G) ? "HIGH" : "LOW");
    }
    else
    {
        /* MPU6050 not available: estimate level from motor current */
        snprintf(vib_line, sizeof(vib_line), "%s (est. from current)",
                 (current >= CURRENT_HIGH_THRESHOLD_A) ? "HIGH" : "LOW");
    }

    /* Motor state and speed level (speed follows the motor current) */
    uint32_t pwm = __HAL_TIM_GET_COMPARE(&htim1, TIM_CHANNEL_1)
                 + __HAL_TIM_GET_COMPARE(&htim1, TIM_CHANNEL_2);

    uint8_t running = (current >= MOTOR_RUN_CURRENT_A) || (pwm > 0U);

    const char *motor_str = running ? "RUNNING" : "STOPPED";
    const char *speed_str = !running ? "OFF" :
                            ((current >= CURRENT_HIGH_THRESHOLD_A) ? "HIGH" : "LOW");

    int len = snprintf(
        tx_buffer,
        sizeof(tx_buffer),
        "\r\n"
        "====================================\r\n"
        "       AKM SQUARE SENSOR MONITOR\r\n"
        "====================================\r\n"
        "Temperature : %s\r\n"
        "Current     : %s\r\n"
        "Vibration   : %s\r\n"
        "Motor       : %s\r\n"
        "Speed       : %s\r\n"
        "====================================\r\n",
        temp_line,
        cur_line,
        vib_line,
        motor_str,
        speed_str
    );

    if (len > 0 && len < (int)sizeof(tx_buffer))
    {
        /* Send to PC / PuTTY through USART2 */
        HAL_UART_Transmit(&huart2, (uint8_t *)tx_buffer, (uint16_t)len, 1000U);

        /* Send to ESP32 through USART6 */
        HAL_UART_Transmit(&huart6, (uint8_t *)tx_buffer, (uint16_t)len, 1000U);
    }
}

/* USER CODE END 4 */

void StartDefaultTask(void *argument)
{
  for(;;)
  {
    osDelay(1);
  }
}

void SensorTask_Entry(void *argument)
{
    /* USER CODE BEGIN SensorTask_Entry */

    for (;;)
    {
        /* 1. Temperature (LM35) */
        temperature_celsius = LM35_ReadTemperature();

        /* 2. Current (ACS712) */
        acs_current_A = ACS712_ReadCurrent();

        /* 3. Vibration (MPU6050) - retry init if it was not found earlier */
        if (!mpu6050_ok)
        {
            if (MPU6050_Init() == HAL_OK)
            {
                mpu6050_ok = 1U;
            }
        }

        if (mpu6050_ok)
        {
            if (MPU6050_ReadVibration() != HAL_OK)
            {
                mpu6050_ok = 0U;
            }
        }

        /* 4. Print to PuTTY (USART2) and ESP32 (USART6) */
        SendSensorDataToESP32(temperature_celsius,
                              acs_current_A,
                              vibration_rms_g);

        osDelay(1000);
    }

    /* USER CODE END SensorTask_Entry */
}

void ButtonTask_Entry(void *argument)
{
    /* USER CODE BEGIN ButtonTask_Entry */

    for (;;)
    {
        /* Button handling can be added here. */
        osDelay(50);
    }

    /* USER CODE END ButtonTask_Entry */
}

void MotorTask_Entry(void *argument)
{
    /* USER CODE BEGIN MotorTask_Entry */

    for (;;)
    {
        /* Speed controller (pot) -> PWM duty for both motors */
        uint8_t ok;
        uint32_t raw = ADC_ReadAveraged(POT_ADC_CHANNEL, 8U, &ok);

        if (ok)
        {
            if (raw < POT_DEADBAND)
            {
                Motor_Stop();
            }
            else
            {
                /* Starts at normal speed (MOTOR_MIN_DUTY), reaches 100% at full pot */
                uint32_t span = 4095U - POT_DEADBAND;
                uint16_t duty = (uint16_t)(MOTOR_MIN_DUTY +
                                ((raw - POT_DEADBAND) * (999U - MOTOR_MIN_DUTY)) / span);

                Motor_Forward();
                Motor1_SetSpeed(duty);
                Motor2_SetSpeed(duty);
            }
        }

        osDelay(50);
    }

    /* USER CODE END MotorTask_Entry */
}

void MonitorTask_Entry(void *argument)
{
  for(;;)
  {
    osDelay(1);
  }
}

void CommTask_Entry(void *argument)
{
  for(;;)
  {
    osDelay(1);
  }
}

void HAL_TIM_PeriodElapsedCallback(TIM_HandleTypeDef *htim)
{
  if (htim->Instance == TIM6)
  {
    HAL_IncTick();
  }
}

void Error_Handler(void)
{
  __disable_irq();
  while (1)
  {
  }
}
#ifdef USE_FULL_ASSERT
/**
  * @brief  Reports the name of the source file and the source line number
  *         where the assert_param error has occurred.
  * @param  file: pointer to the source file name
  * @param  line: assert_param error line source number
  * @retval None
  */
void assert_failed(uint8_t *file, uint32_t line)
{
  /* USER CODE BEGIN 6 */
  /* User can add his own implementation to report the file name and line number,
     ex: printf("Wrong parameters value: file %s on line %d\r\n", file, line) */
  (void)file;
  (void)line;
  /* USER CODE END 6 */
}
#endif /* USE_FULL_ASSERT */
